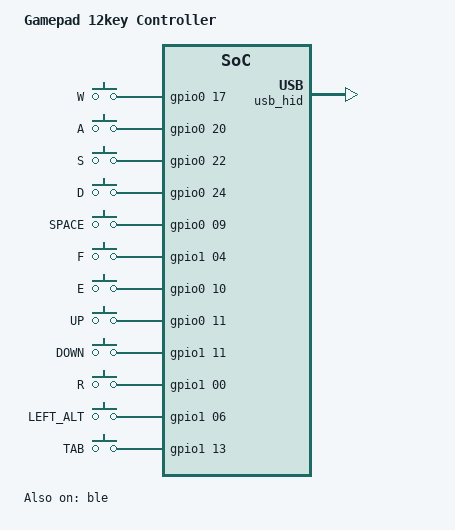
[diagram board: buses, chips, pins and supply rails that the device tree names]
/dts-v1/;
#include <zephyr/dt-bindings/gpio/gpio.h>
#include <dt-bindings/zmk/gpio.h>
#include <dt-bindings/zmk/keys.h>

/ {
    compatible = "zmk,shield-gamepad";
    model = "Gamepad 12key Controller";

    gpio_keys {
        compatible = "zmk,gpio-keys";
        status = "okay";

        /* 格式：label = "按键名"; gpios = <&gpioX 引脚号 GPIO_PULL_UP>; */
        key_w: key_w {
            label = "W";
            gpios = <&gpio0 17 GPIO_PULL_UP>;
            bindings = <&kp W>;
        };
        key_a: key_a {
            label = "A";
            gpios = <&gpio0 20 GPIO_PULL_UP>;
            bindings = <&kp A>;
        };
        key_s: key_s {
            label = "S";
            gpios = <&gpio0 22 GPIO_PULL_UP>;
            bindings = <&kp S>;
        };
        key_d: key_d {
            label = "D";
            gpios = <&gpio0 24 GPIO_PULL_UP>;
            bindings = <&kp D>;
        };
        key_space: key_space {
            label = "SPACE";
            gpios = <&gpio0 09 GPIO_PULL_UP>;
            bindings = <&kp SPACE>;
        };
        key_f: key_f {
            label = "F";
            gpios = <&gpio1 04 GPIO_PULL_UP>;
            bindings = <&kp F>;
        };
        key_e: key_e {
            label = "E";
            gpios = <&gpio0 10 GPIO_PULL_UP>;
            bindings = <&kp E>;
        };
        key_up: key_up {
            label = "UP";
            gpios = <&gpio0 11 GPIO_PULL_UP>;
            bindings = <&kp UP>;
        };
        key_down: key_down {
            label = "DOWN";
            gpios = <&gpio1 11 GPIO_PULL_UP>;
            bindings = <&kp DOWN>;
        };
        key_r: key_r {
            label = "R";
            gpios = <&gpio1 00 GPIO_PULL_UP>;
            bindings = <&kp R>;
        };
        key_alt: key_alt {
            label = "LEFT_ALT";
            gpios = <&gpio1 06 GPIO_PULL_UP>;
            bindings = <&kp LALT>;
        };
        key_tab: key_tab {
            label = "TAB";
            gpios = <&gpio1 13 GPIO_PULL_UP>;
            bindings = <&kp TAB>;
        };
    };
};

&usb_hid {
    status = "okay";
};

&ble {
    status = "okay";
};
